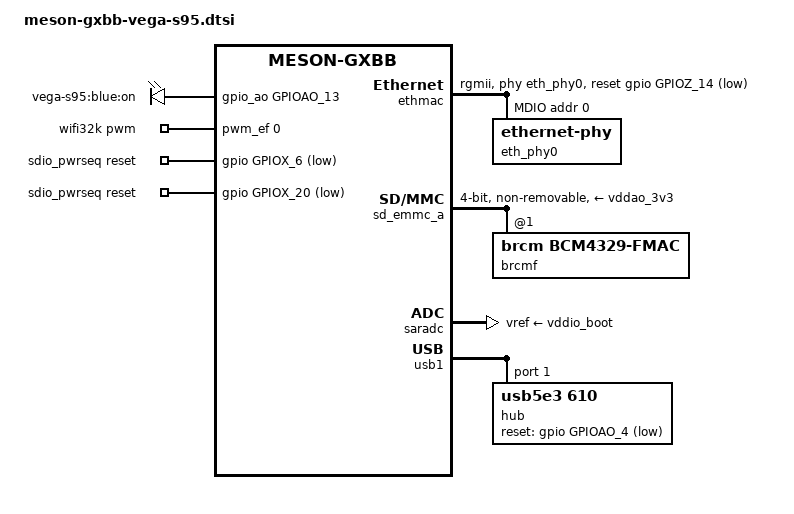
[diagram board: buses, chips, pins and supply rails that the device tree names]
/*
 * Copyright (c) 2016 Andreas Färber
 *
 * This file is dual-licensed: you can use it either under the terms
 * of the GPL or the X11 license, at your option. Note that this dual
 * licensing only applies to this file, and not this project as a
 * whole.
 *
 *  a) This library is free software; you can redistribute it and/or
 *     modify it under the terms of the GNU General Public License as
 *     published by the Free Software Foundation; either version 2 of the
 *     License, or (at your option) any later version.
 *
 *     This library is distributed in the hope that it will be useful,
 *     but WITHOUT ANY WARRANTY; without even the implied warranty of
 *     MERCHANTABILITY or FITNESS FOR A PARTICULAR PURPOSE.  See the
 *     GNU General Public License for more details.
 *
 * Or, alternatively,
 *
 *  b) Permission is hereby granted, free of charge, to any person
 *     obtaining a copy of this software and associated documentation
 *     files (the "Software"), to deal in the Software without
 *     restriction, including without limitation the rights to use,
 *     copy, modify, merge, publish, distribute, sublicense, and/or
 *     sell copies of the Software, and to permit persons to whom the
 *     Software is furnished to do so, subject to the following
 *     conditions:
 *
 *     The above copyright notice and this permission notice shall be
 *     included in all copies or substantial portions of the Software.
 *
 *     THE SOFTWARE IS PROVIDED "AS IS", WITHOUT WARRANTY OF ANY KIND,
 *     EXPRESS OR IMPLIED, INCLUDING BUT NOT LIMITED TO THE WARRANTIES
 *     OF MERCHANTABILITY, FITNESS FOR A PARTICULAR PURPOSE AND
 *     NONINFRINGEMENT. IN NO EVENT SHALL THE AUTHORS OR COPYRIGHT
 *     HOLDERS BE LIABLE FOR ANY CLAIM, DAMAGES OR OTHER LIABILITY,
 *     WHETHER IN AN ACTION OF CONTRACT, TORT OR OTHERWISE, ARISING
 *     FROM, OUT OF OR IN CONNECTION WITH THE SOFTWARE OR THE USE OR
 *     OTHER DEALINGS IN THE SOFTWARE.
 */

#include "meson-gxbb-p20x.dtsi"
#include <dt-bindings/gpio/gpio.h>

/ {
	compatible = "tronsmart,vega-s95", "amlogic,meson-gxbb";

	leds {
		compatible = "gpio-leds";

		blue {
			label = "vega-s95:blue:on";
			gpios = <&gpio_ao GPIOAO_13 GPIO_ACTIVE_HIGH>;
			default-state = "on";
			panic-indicator;
		};
	};

	wifi32k: wifi32k {
		compatible = "pwm-clock";
		#clock-cells = <0>;
		clock-frequency = <32768>;
		pwms = <&pwm_ef 0 30518 0>; /* PWM_E at 32.768KHz */
	};

	sdio_pwrseq: sdio-pwrseq {
		compatible = "mmc-pwrseq-simple";
		reset-gpios = <&gpio GPIOX_6 GPIO_ACTIVE_LOW>,
				<&gpio GPIOX_20 GPIO_ACTIVE_LOW>;
		clocks = <&wifi32k>;
		clock-names = "ext_clock";
	};
};

&ethmac {
	status = "okay";
	pinctrl-0 = <&eth_rgmii_pins>;
	pinctrl-names = "default";

	phy-handle = <&eth_phy0>;
	phy-mode = "rgmii";

	amlogic,tx-delay-ns = <2>;

	snps,reset-gpio = <&gpio GPIOZ_14 0>;
	snps,reset-delays-us = <0 10000 1000000>;
	snps,reset-active-low;

	mdio {
		compatible = "snps,dwmac-mdio";
		#address-cells = <1>;
		#size-cells = <0>;

		eth_phy0: ethernet-phy@0 {
			/* Realtek RTL8211F (0x001cc916) */
			reg = <0>;
			eee-broken-1000t;
		};
	};
};

/* Wireless SDIO Module */
&sd_emmc_a {
	status = "okay";
	pinctrl-0 = <&sdio_pins &sdio_irq_pins>;
	pinctrl-1 = <&sdio_clk_gate_pins>;
	pinctrl-names = "default", "clk-gate";
	#address-cells = <1>;
	#size-cells = <0>;

	bus-width = <4>;
	cap-sd-highspeed;
	max-frequency = <100000000>;

	non-removable;
	disable-wp;

	mmc-pwrseq = <&sdio_pwrseq>;

	vmmc-supply = <&vddao_3v3>;
	vqmmc-supply = <&vddio_boot>;

	brcmf: wifi@1 {
		reg = <1>;
		compatible = "brcm,bcm4329-fmac";
	};
};

&saradc {
	status = "okay";
	vref-supply = <&vddio_boot>;
};

&scpi_clocks {
	status = "disabled";
};

&usb1 {
	status = "okay";
	hub@1 {
		compatible = "usb5e3,610";
		reg = <1>;
		reset-gpios = <&gpio GPIOAO_4 GPIO_ACTIVE_LOW>;
		reset-duration-us = <3000>;
	};
};
